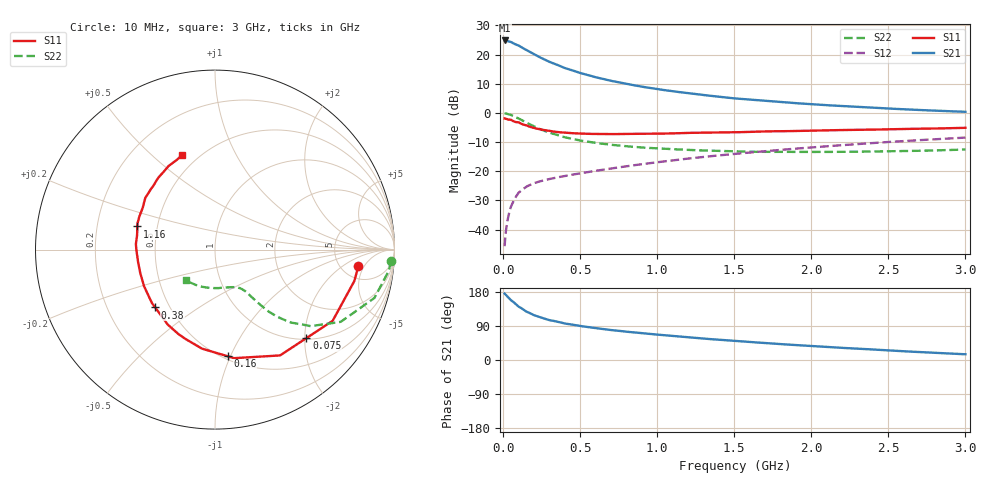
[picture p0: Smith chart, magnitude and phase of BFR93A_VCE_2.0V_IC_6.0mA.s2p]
! Infineon Technologies  Discrete & RF Semiconductors
! BFR93A
! VCE =  2.0 V,  IC =  6.0 mA
! Common Emitter S-Parameters:  Nov 2015
# GHz  S  MA  R  50
!  f  S11  S21  S12  S22
! GHz  MAG  ANG  MAG  ANG  MAG  ANG  MAG  ANG
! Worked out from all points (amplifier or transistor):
!   180 points, 10 MHz to 3 GHz, reference 50 ohm
!   highest |S21| = 24.9 dB at 10 MHz (marker M1)
!   |S21| within 3 dB of that: start of sweep to 141.6 MHz
!   unconditionally stable (mu >= 1): 677 MHz to 2.995 GHz
!   at 160 MHz: K = 0.38, MSG = 23.2 dB, |S12| = -25.1 dB
!   at 1.22 GHz: K = 1.12, MAG = 9.0 dB, |S12| = -15.5 dB
!   at 3 GHz: K = 1.00, MSG = 4.4 dB, |S12| = -8.4 dB
!   S11 on the Smith chart (normalised r, x): 10 MHz: 7.26, -3.74; 75 MHz: 1.03, -2.04; 160 MHz: 0.53, -0.98; 380 MHz: 0.42, -0.34; 1.16 GHz: 0.38, +0.12; 3 GHz: 0.41, +0.63
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0.01  0.8043 -6.5  17.5 175.3  0.0052 86.4  0.9832 -3.7
0.02  0.7959 -12.7  17.38 170.8  0.0102 82.9  0.9753 -7.0
0.05  0.7662 -31.2  16.52 158.3  0.0243 74.2  0.928 -16.9
0.075  0.7088 -44.1  15.26 150.3  0.0333 66.9  0.8622 -22.9
0.1  0.6922 -58.4  14.35 141.1  0.0427 62.8  0.8076 -29.9
0.15  0.6142 -80.0  12.05 127.9  0.0543 55.4  0.6852 -38.5
0.16  0.5984 -83.2  11.65 126.2  0.0559 54.6  0.6656 -39.4
0.2  0.5565 -97.5  10.18 118.3  0.0625 51.7  0.5892 -43.7
0.26  0.5125 -113.5  8.454 109.9  0.0695 49.3  0.5032 -47.4
0.3  0.4941 -122.1  7.546 105.3  0.0736 48.8  0.4593 -49.0
0.38  0.4636 -136.0  6.217 98.5  0.0811 48.8  0.3985 -50.6
0.4  0.4606 -139.7  5.902 96.3  0.083 48.8  0.3833 -51.1
0.52  0.4421 -154.7  4.698 88.6  0.0941 50.2  0.3309 -52.3
0.6  0.4364 -162.7  4.106 84.0  0.1018 51.3  0.3062 -53.0
0.7  0.4341 -170.7  3.559 79.1  0.1115 52.4  0.2846 -54.1
0.9  0.4419 176.1  2.821 70.8  0.1322 54.0  0.2554 -57.2
1.02  0.4413 169.7  2.522 66.3  0.145 54.4  0.2455 -59.5
1.16  0.4514 163.4  2.252 61.4  0.1605 54.7  0.2352 -63.1
1.52  0.4669 149.2  1.762 49.8  0.2007 54.1  0.2192 -73.8
2.02  0.496 133.3  1.401 36.4  0.2591 51.2  0.2145 -91.8
2.52  0.5263 121.0  1.185 25.0  0.3202 46.6  0.2206 -111.8
3  0.5559 109.3  1.047 15.1  0.3782 41.0  0.2367 -133.5
